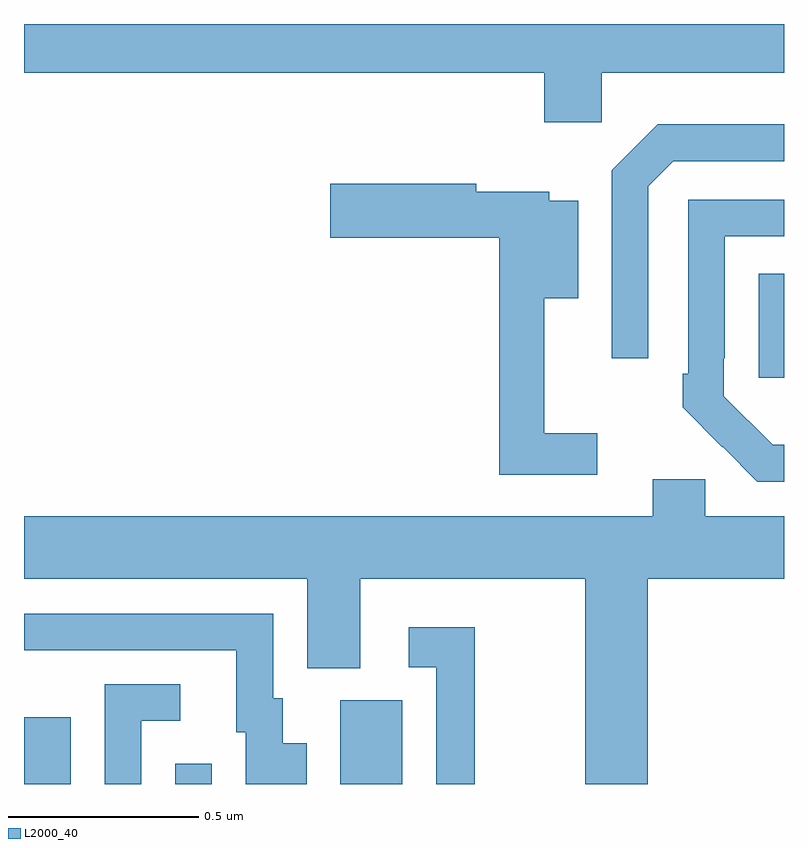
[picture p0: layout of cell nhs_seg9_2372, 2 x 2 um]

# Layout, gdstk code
import gdstk
lib = gdstk.Library(unit=1e-6, precision=1e-09)
def R(c, l, rs):  # rectangles x0, y0, x1, y1
    for r in rs: c.add(gdstk.rectangle(r[:2], r[2:], *l))
def P(c, l, *ps):  # polygons
    for p in ps: c.add(gdstk.Polygon(p, *l))
L2000_40 = (2000, 40)

nhs_seg9_2372 = lib.new_cell('nhs_seg9_2372')
R(nhs_seg9_2372, L2000_40, [(139,1242.5,139.123,1242.676), (139.398,1242.5,139.494,1242.553), (139.832,1242.5,139.996,1242.72), (140.933,1243.569,141,1243.843)])
P(nhs_seg9_2372, L2000_40, [(140.52,1244.372),(141,1244.372),(141,1244.5),(139,1244.5),(139,1244.372),(140.369,1244.372),(140.369,1244.241),(140.52,1244.241)],
  [(140.643,1244.073),(140.709,1244.139),(141,1244.139),(141,1244.236),(140.668,1244.236),(140.547,1244.115),(140.547,1243.62),(140.643,1243.62)],
  [(140.509,1243.423),(140.369,1243.423),(140.369,1243.778),(140.458,1243.778),(140.458,1244.035),(140.382,1244.035),(140.382,1244.059),(140.19,1244.059),(140.19,1244.079),(139.806,1244.079),(139.806,1243.937),(140.251,1243.937),(140.251,1243.314),(140.509,1243.314)],
  [(141,1243.393),(140.97,1243.393),(140.841,1243.521),(140.841,1243.621),(140.844,1243.621),(140.844,1243.941),(141,1243.941),(141,1244.037),(140.748,1244.037),(140.748,1243.579),(140.733,1243.579),(140.733,1243.491),(140.838,1243.386),(140.839,1243.387),(140.93,1243.296),(141,1243.296)],
  [(140.641,1243.04),(141,1243.04),(141,1243.204),(140.793,1243.204),(140.793,1243.302),(140.654,1243.302),(140.654,1243.204),(139,1243.204),(139,1243.04),(139.745,1243.04),(139.745,1242.805),(139.885,1242.805),(139.885,1243.04),(140.477,1243.04),(140.477,1242.5),(140.641,1242.5)],
  [(139.744,1242.607),(139.681,1242.607),(139.681,1242.726),(139.656,1242.726),(139.656,1242.948),(139,1242.948),(139,1242.852),(139.559,1242.852),(139.559,1242.636),(139.583,1242.636),(139.583,1242.5),(139.744,1242.5)],
  [(140.186,1242.913),(140.013,1242.913),(140.013,1242.807),(140.085,1242.807),(140.085,1242.5),(140.186,1242.5)],
  [(139.308,1242.666),(139.411,1242.666),(139.411,1242.762),(139.212,1242.762),(139.212,1242.5),(139.308,1242.5)])

lib.write_gds('nhs_seg9_2372.gds')
